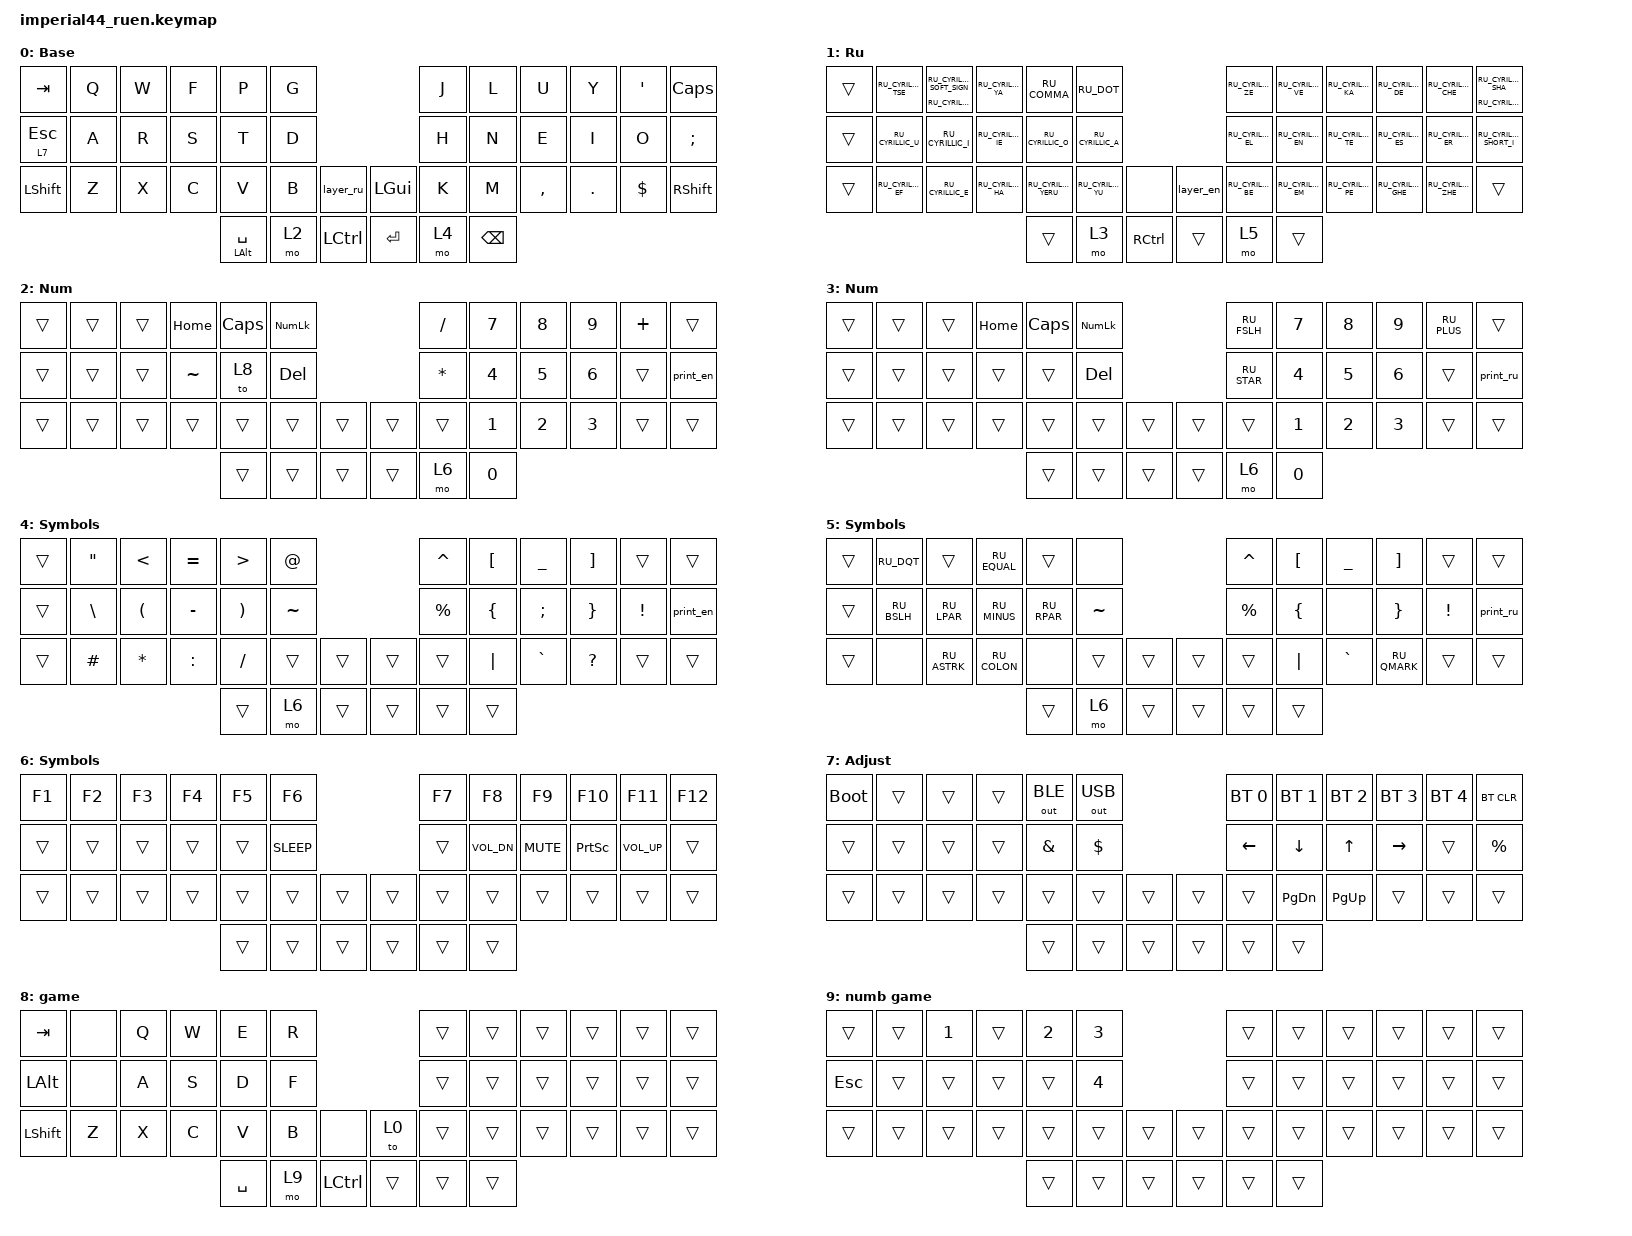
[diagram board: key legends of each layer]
#include "keys_ru.h"
#include <behaviors.dtsi>
#include <dt-bindings/zmk/bt.h>
#include <dt-bindings/zmk/keys.h>
#include <dt-bindings/zmk/outputs.h>

/ {
    combos {
        compatible = "zmk,combos";

        ctrl+v_ru {
            bindings = <&ctrl_v_ru>;
            key-positions = <28 40>;
            layers = <1>;
            timeout-ms = <0>;
        };

        print_ru {
            bindings = <&print_ru>;
            key-positions = <41 23>;
        };
    };

    macros {
        to_ru: to_ru {
            compatible = "zmk,behavior-macro";
            #binding-cells = <0>;
            bindings = <&kp LG(SPACE)>;
            label = "TO_RU";
            wait-ms = <0>;
            tap-ms = <30>;
        };

        to_en: to_en {
            compatible = "zmk,behavior-macro";
            #binding-cells = <0>;
            bindings = <&kp LG(SPACE)>;
            label = "TO_EN";
            wait-ms = <0>;
            tap-ms = <30>;
        };

        layer_en: layer_en {
            compatible = "zmk,behavior-macro";
            #binding-cells = <0>;
            bindings = <&to 0 &to_en>;
            label = "LAYER_EN";
            wait-ms = <0>;
            tap-ms = <30>;
        };

        layer_ru: layer_ru {
            compatible = "zmk,behavior-macro";
            #binding-cells = <0>;
            bindings = <&to 1 &to_ru>;
            label = "LAYER_RU";
            tap-ms = <30>;
            wait-ms = <0>;
        };

        print_ru: print_ru {
            compatible = "zmk,behavior-macro";
            #binding-cells = <0>;
            bindings = <&kp RU_CYRILLIC_ER &kp RU_CYRILLIC_U>;
            label = "PRINT_RU";
        };

        print_en: print_en {
            compatible = "zmk,behavior-macro";
            #binding-cells = <0>;
            bindings = <&kp E &kp N>;
            label = "PRINT_EN";
        };

        ctrl_v_ru: ctrl_v_ru {
            compatible = "zmk,behavior-macro";
            #binding-cells = <0>;
            bindings = <&layer_en &kp LC(V) &layer_ru>;
            label = "CTRL_V_RU";
        };
    };

    behaviors {
        hold_tap: hold_tap {
            compatible = "zmk,behavior-hold-tap";
            label = "HOLD_TAP";
            bindings = <&kp>, <&kp>;

            #binding-cells = <2>;
            tapping-term-ms = <200>;
        };
    };

    keymap {
        compatible = "zmk,keymap";

        en {
            bindings = <
&kp TAB    &kp Q  &kp W  &kp F  &kp P                     &kp G                          &kp J  &kp L          &kp U      &kp Y    &kp SQT     &kp CAPS
&lt 7 ESC  &kp A  &kp R  &kp S  &kp T                     &kp D                          &kp H  &kp N          &kp E      &kp I    &kp O       &kp SEMI
&kp LSHFT  &kp Z  &kp X  &kp C  &kp V                     &kp B  &layer_ru    &kp LGUI   &kp K  &kp M          &kp COMMA  &kp DOT  &kp DOLLAR  &kp RSHFT
                                &hold_tap LEFT_ALT SPACE  &mo 2  &kp LCTRL    &kp ENTER  &mo 4  &kp BACKSPACE
            >;

            display-name = "Base";
        };

        ru {
            display-name = "Ru";
            bindings = <
&trans  &kp RU_CYRILLIC_TSE  &hold_tap RU_CYRILLIC_HARD_SIGN RU_CYRILLIC_SOFT_SIGN  &kp RU_CYRILLIC_YA  &kp RU_COMMA          &kp RU_DOT                                          &kp RU_CYRILLIC_ZE  &kp RU_CYRILLIC_VE  &kp RU_CYRILLIC_KA  &kp RU_CYRILLIC_DE   &kp RU_CYRILLIC_CHE  &hold_tap RU_CYRILLIC_SHCHA RU_CYRILLIC_SHA
&trans  &kp RU_CYRILLIC_U    &kp RU_CYRILLIC_I                                      &kp RU_CYRILLIC_IE  &kp RU_CYRILLIC_O     &kp RU_CYRILLIC_A                                   &kp RU_CYRILLIC_EL  &kp RU_CYRILLIC_EN  &kp RU_CYRILLIC_TE  &kp RU_CYRILLIC_ES   &kp RU_CYRILLIC_ER   &kp RU_CYRILLIC_SHORT_I
&trans  &kp RU_CYRILLIC_EF   &kp RU_CYRILLIC_E                                      &kp RU_CYRILLIC_HA  &kp RU_CYRILLIC_YERU  &kp RU_CYRILLIC_YU  &none                &layer_en  &kp RU_CYRILLIC_BE  &kp RU_CYRILLIC_EM  &kp RU_CYRILLIC_PE  &kp RU_CYRILLIC_GHE  &kp RU_CYRILLIC_ZHE  &trans
                                                                                                        &trans                &mo 3               &kp RIGHT_CONTROL    &trans     &mo 5               &trans
            >;
        };

        num {
            bindings = <
&trans  &trans  &trans  &kp HOME   &kp CAPSLOCK  &kp KP_NUMLOCK                    &kp FSLH   &kp N7  &kp N8  &kp N9  &kp PLUS  &trans
&trans  &trans  &trans  &kp TILDE  &to 8         &kp DELETE                        &kp ASTRK  &kp N4  &kp N5  &kp N6  &trans    &print_en
&trans  &trans  &trans  &trans     &trans        &trans          &trans    &trans  &trans     &kp N1  &kp N2  &kp N3  &trans    &trans
                                   &trans        &trans          &trans    &trans  &mo 6      &kp N0
            >;

            display-name = "Num";
        };

        ru-num {
            display-name = "Num";
            bindings = <
&trans  &trans  &trans  &kp HOME  &kp CAPSLOCK  &kp KP_NUMLOCK                    &kp RU_FSLH  &kp N7  &kp N8  &kp N9  &kp RU_PLUS  &trans
&trans  &trans  &trans  &trans    &trans        &kp DELETE                        &kp RU_STAR  &kp N4  &kp N5  &kp N6  &trans       &print_ru
&trans  &trans  &trans  &trans    &trans        &trans          &trans    &trans  &trans       &kp N1  &kp N2  &kp N3  &trans       &trans
                                  &trans        &trans          &trans    &trans  &mo 6        &kp N0
            >;
        };

        sym {
            bindings = <
&trans  &kp DOUBLE_QUOTES  &kp LT    &kp EQUAL  &kp GT    &kp AT_SIGN                    &kp CARET  &kp LBKT  &kp UNDER  &kp RBKT      &trans    &trans
&trans  &kp BSLH           &kp LPAR  &kp MINUS  &kp RPAR  &kp TILDE                      &kp PRCNT  &kp LBRC  &kp SEMI   &kp RBRC      &kp EXCL  &print_en
&trans  &kp HASH           &kp STAR  &kp COLON  &kp FSLH  &trans       &trans    &trans  &trans     &kp PIPE  &kp GRAVE  &kp QUESTION  &trans    &trans
                                                &trans    &mo 6        &trans    &trans  &trans     &trans
            >;

            display-name = "Symbols";
        };

        ru-sym {
            display-name = "Symbols";
            bindings = <
&trans  &kp RU_DQT   &trans        &kp RU_EQUAL  &trans       &none                        &kp CARET  &kp LBKT  &kp UNDER  &kp RBKT      &trans    &trans
&trans  &kp RU_BSLH  &kp RU_LPAR   &kp RU_MINUS  &kp RU_RPAR  &kp TILDE                    &kp PRCNT  &kp LBRC  &none      &kp RBRC      &kp EXCL  &print_ru
&trans  &none        &kp RU_ASTRK  &kp RU_COLON  &none        &trans     &trans    &trans  &trans     &kp PIPE  &kp GRAVE  &kp RU_QMARK  &trans    &trans
                                                 &trans       &mo 6      &trans    &trans  &trans     &trans
            >;
        };

        fsym {
            display-name = "Symbols";
            bindings = <
&kp F1  &kp F2  &kp F3  &kp F4  &kp F5  &kp F6                         &kp F7  &kp F8        &kp F9      &kp F10          &kp F11          &kp F12
&trans  &trans  &trans  &trans  &trans  &kp C_SLEEP                    &trans  &kp C_VOL_DN  &kp K_MUTE  &kp PRINTSCREEN  &kp C_VOLUME_UP  &trans
&trans  &trans  &trans  &trans  &trans  &trans       &trans    &trans  &trans  &trans        &trans      &trans           &trans           &trans
                                &trans  &trans       &trans    &trans  &trans  &trans
            >;
        };

        adj {
            bindings = <
&bootloader  &trans  &trans  &trans  &out OUT_BLE   &out OUT_USB                    &bt BT_SEL 0    &bt BT_SEL 1    &bt BT_SEL 2  &bt BT_SEL 3     &bt BT_SEL 4  &bt BT_CLR
&trans       &trans  &trans  &trans  &kp AMPERSAND  &kp DOLLAR                      &kp LEFT_ARROW  &kp DOWN_ARROW  &kp UP        &kp RIGHT_ARROW  &trans        &kp PRCNT
&trans       &trans  &trans  &trans  &trans         &trans        &trans    &trans  &trans          &kp PAGE_DOWN   &kp PAGE_UP   &trans           &trans        &trans
                                     &trans         &trans        &trans    &trans  &trans          &trans
            >;

            display-name = "Adjust";
        };

        game {
            bindings = <
&kp TAB         &none  &kp Q  &kp W  &kp E      &kp R                       &trans  &trans  &trans  &trans  &trans  &trans
&kp LEFT_ALT    &none  &kp A  &kp S  &kp D      &kp F                       &trans  &trans  &trans  &trans  &trans  &trans
&kp LEFT_SHIFT  &kp Z  &kp X  &kp C  &kp V      &kp B  &none        &to 0   &trans  &trans  &trans  &trans  &trans  &trans
                                     &kp SPACE  &mo 9  &kp LCTRL    &trans  &trans  &trans
            >;

            label = "game";
        };

        numbers_for_games {
            bindings = <
&trans   &trans  &kp N1  &trans  &kp NUMBER_2  &kp NUMBER_3                    &trans  &trans  &trans  &trans  &trans  &trans
&kp ESC  &trans  &trans  &trans  &trans        &kp NUMBER_4                    &trans  &trans  &trans  &trans  &trans  &trans
&trans   &trans  &trans  &trans  &trans        &trans        &trans    &trans  &trans  &trans  &trans  &trans  &trans  &trans
                                 &trans        &trans        &trans    &trans  &trans  &trans
            >;

            label = "numb game";
        };
    };
};
